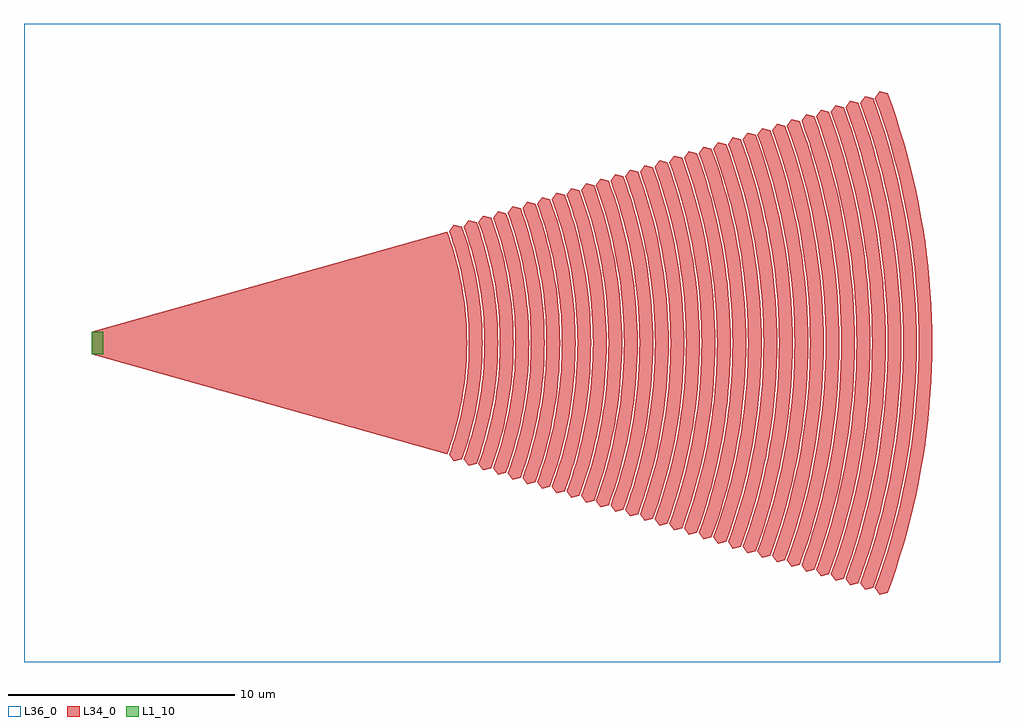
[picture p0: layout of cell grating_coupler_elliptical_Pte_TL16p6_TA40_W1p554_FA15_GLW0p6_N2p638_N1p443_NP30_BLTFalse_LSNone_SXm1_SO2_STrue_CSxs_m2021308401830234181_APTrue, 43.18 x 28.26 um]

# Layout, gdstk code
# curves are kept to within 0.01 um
import gdstk
lib = gdstk.Library(unit=1e-6, precision=1e-09)
def R(c, l, rs):  # rectangles x0, y0, x1, y1
    for r in rs: c.add(gdstk.rectangle(r[:2], r[2:], *l))
def P(c, l, *ps):  # polygons
    for p in ps: c.add(gdstk.Polygon(p, *l))
L1_10 = (1, 10)
L34_0 = (34, 0)
L36_0 = (36, 0)

grating_coupler_elliptic = lib.new_cell('grating_coupler_elliptical_Pte_TL16p6_TA40_W1p554_FA15_GLW0p6_N2p638_N1p443_NP30_BLTFalse_LSNone_SXm1_SO2_STrue_CSxs_m2021308401830234181_APTrue')
R(grating_coupler_elliptic, L1_10, [(0,-0.5,0.5,0.5)])
P(grating_coupler_elliptic, L34_0, [(15.723,-4.924),(0,-0.5),(0,0.5),(15.723,4.924),(15.965,4.21),(16.104,3.726),(16.282,2.994),(16.379,2.5),(16.492,1.755),(16.545,1.255),(16.58,0.754),(16.6,0),(16.58,-0.754),(16.545,-1.255),(16.492,-1.755),(16.379,-2.5),(16.282,-2.994),(16.104,-3.726),(15.965,-4.21)],
  [(16.022,-5.227),(15.806,-4.939),(15.973,-4.459),(16.189,-3.735),(16.313,-3.246),(16.465,-2.505),(16.544,-2.008),(16.63,-1.257),(16.666,-0.755),(16.686,0),(16.666,0.755),(16.63,1.257),(16.544,2.008),(16.465,2.505),(16.313,3.246),(16.189,3.735),(15.973,4.459),(15.806,4.939),(16.022,5.227),(16.372,5.139),(16.623,4.396),(16.897,3.382),(17.055,2.611),(17.173,1.832),(17.266,0.787),(17.286,0),(17.266,-0.787),(17.173,-1.832),(17.055,-2.611),(16.897,-3.382),(16.623,-4.396),(16.372,-5.139)],
  [(16.67,-5.43),(16.456,-5.14),(16.629,-4.644),(16.854,-3.889),(17.041,-3.124),(17.142,-2.61),(17.259,-1.831),(17.314,-1.31),(17.363,-0.524),(17.372,0),(17.363,0.524),(17.314,1.31),(17.259,1.831),(17.142,2.61),(17.041,3.124),(16.854,3.889),(16.629,4.644),(16.456,5.14),(16.67,5.43),(17.02,5.344),(17.36,4.309),(17.567,3.516),(17.732,2.714),(17.855,1.905),(17.951,0.818),(17.972,0),(17.951,-0.818),(17.855,-1.905),(17.732,-2.714),(17.567,-3.516),(17.36,-4.309),(17.02,-5.344)],
  [(17.32,-5.634),(17.106,-5.345),(17.286,-4.827),(17.52,-4.043),(17.714,-3.248),(17.819,-2.713),(17.94,-1.903),(17.998,-1.362),(18.048,-0.545),(18.058,0),(18.048,0.545),(17.998,1.362),(17.94,1.903),(17.819,2.713),(17.714,3.248),(17.52,4.043),(17.286,4.827),(17.106,5.345),(17.32,5.634),(17.67,5.547),(17.942,4.744),(18.1,4.199),(18.238,3.651),(18.409,2.817),(18.536,1.977),(18.596,1.414),(18.636,0.849),(18.658,0),(18.636,-0.849),(18.596,-1.414),(18.536,-1.977),(18.409,-2.817),(18.238,-3.651),(18.1,-4.199),(17.942,-4.744),(17.67,-5.547)],
  [(17.971,-5.837),(17.756,-5.548),(17.942,-5.011),(18.185,-4.197),(18.324,-3.648),(18.496,-2.815),(18.585,-2.257),(18.682,-1.414),(18.734,-0.566),(18.744,0),(18.734,0.566),(18.682,1.414),(18.585,2.257),(18.496,2.815),(18.324,3.648),(18.185,4.197),(17.942,5.011),(17.756,5.548),(17.971,5.837),(18.32,5.75),(18.602,4.918),(18.765,4.353),(18.908,3.784),(19.086,2.921),(19.218,2.05),(19.28,1.466),(19.321,0.88),(19.344,0),(19.321,-0.88),(19.28,-1.466),(19.218,-2.05),(19.086,-2.921),(18.908,-3.784),(18.765,-4.353),(18.602,-4.918),(18.32,-5.75)],
  [(18.621,-6.041),(18.405,-5.753),(18.688,-4.915),(18.852,-4.35),(18.995,-3.782),(19.172,-2.919),(19.265,-2.34),(19.365,-1.464),(19.406,-0.88),(19.43,0),(19.406,0.88),(19.365,1.464),(19.265,2.34),(19.172,2.919),(18.995,3.782),(18.852,4.35),(18.688,4.915),(18.405,5.753),(18.621,6.041),(18.971,5.953),(19.262,5.091),(19.43,4.508),(19.579,3.918),(19.762,3.025),(19.899,2.123),(19.963,1.518),(20.006,0.912),(20.03,0),(20.006,-0.912),(19.963,-1.518),(19.899,-2.123),(19.762,-3.025),(19.579,-3.918),(19.43,-4.508),(19.262,-5.091),(18.971,-5.953)],
  [(19.269,-6.244),(19.055,-5.954),(19.256,-5.379),(19.517,-4.504),(19.666,-3.915),(19.849,-3.022),(19.945,-2.422),(20.049,-1.517),(20.105,-0.607),(20.116,0),(20.105,0.607),(20.049,1.517),(19.985,2.121),(19.849,3.022),(19.666,3.915),(19.517,4.504),(19.256,5.379),(19.055,5.954),(19.269,6.244),(19.619,6.158),(19.826,5.565),(20.011,4.965),(20.25,4.051),(20.439,3.128),(20.581,2.195),(20.647,1.569),(20.691,0.943),(20.716,0),(20.691,-0.943),(20.647,-1.569),(20.581,-2.195),(20.439,-3.128),(20.25,-4.051),(20.011,-4.965),(19.826,-5.565),(19.619,-6.158)],
  [(19.919,-6.448),(19.705,-6.159),(19.912,-5.563),(20.182,-4.659),(20.405,-3.742),(20.526,-3.125),(20.625,-2.505),(20.733,-1.569),(20.791,-0.629),(20.802,0),(20.791,0.629),(20.733,1.569),(20.625,2.505),(20.526,3.125),(20.405,3.742),(20.182,4.659),(19.912,5.563),(19.705,6.159),(19.919,6.448),(20.269,6.361),(20.581,5.44),(20.762,4.815),(20.92,4.185),(21.116,3.231),(21.262,2.268),(21.331,1.621),(21.377,0.974),(21.402,0),(21.377,-0.974),(21.331,-1.621),(21.262,-2.268),(21.116,-3.231),(20.92,-4.185),(20.762,-4.815),(20.581,-5.44),(20.269,-6.361)],
  [(20.57,-6.651),(20.355,-6.362),(20.569,-5.746),(20.848,-4.813),(21.007,-4.183),(21.203,-3.229),(21.348,-2.266),(21.416,-1.62),(21.462,-0.974),(21.488,0),(21.462,0.974),(21.416,1.62),(21.348,2.266),(21.203,3.229),(21.007,4.183),(20.848,4.813),(20.569,5.746),(20.355,6.362),(20.57,6.651),(20.919,6.564),(21.241,5.614),(21.428,4.969),(21.591,4.319),(21.793,3.335),(21.944,2.34),(22.014,1.674),(22.062,1.004),(22.088,0),(22.062,-1.004),(22.014,-1.674),(21.944,-2.34),(21.793,-3.335),(21.591,-4.319),(21.428,-4.969),(21.241,-5.614),(20.919,-6.564)],
  [(21.22,-6.855),(21.004,-6.567),(21.327,-5.61),(21.513,-4.967),(21.751,-3.99),(21.88,-3.332),(21.985,-2.671),(22.1,-1.673),(22.162,-0.669),(22.174,0),(22.162,0.669),(22.1,1.673),(21.985,2.671),(21.88,3.332),(21.751,3.99),(21.513,4.967),(21.327,5.61),(21.004,6.567),(21.22,6.855),(21.57,6.767),(21.901,5.788),(22.093,5.123),(22.261,4.453),(22.47,3.438),(22.625,2.413),(22.698,1.725),(22.747,1.036),(22.774,0),(22.747,-1.036),(22.698,-1.725),(22.625,-2.413),(22.47,-3.438),(22.261,-4.453),(22.093,-5.123),(21.901,-5.788),(21.57,-6.767)],
  [(21.868,-7.058),(21.654,-6.768),(21.882,-6.114),(22.179,-5.121),(22.424,-4.113),(22.557,-3.435),(22.666,-2.754),(22.784,-1.724),(22.848,-0.69),(22.86,0),(22.848,0.69),(22.784,1.724),(22.666,2.754),(22.557,3.435),(22.424,4.113),(22.179,5.121),(21.882,6.114),(21.654,6.768),(21.868,7.058),(22.218,6.972),(22.56,5.962),(22.759,5.277),(22.932,4.587),(23.147,3.541),(23.307,2.485),(23.382,1.778),(23.432,1.067),(23.46,0),(23.432,-1.067),(23.382,-1.778),(23.307,-2.485),(23.147,-3.541),(22.932,-4.587),(22.759,-5.277),(22.56,-5.962),(22.218,-6.972)],
  [(22.518,-7.262),(22.304,-6.973),(22.539,-6.298),(22.844,-5.275),(23.019,-4.585),(23.234,-3.539),(23.346,-2.836),(23.468,-1.777),(23.533,-0.711),(23.546,0),(23.533,0.711),(23.468,1.777),(23.346,2.836),(23.234,3.539),(23.019,4.585),(22.844,5.275),(22.539,6.298),(22.304,6.973),(22.518,7.262),(22.868,7.175),(23.22,6.135),(23.424,5.431),(23.603,4.721),(23.824,3.645),(23.94,2.92),(24.03,2.194),(24.117,1.098),(24.146,0),(24.117,-1.098),(24.03,-2.194),(23.94,-2.92),(23.824,-3.645),(23.603,-4.721),(23.424,-5.431),(23.22,-6.135),(22.868,-7.175)],
  [(23.169,-7.465),(22.953,-7.176),(23.195,-6.481),(23.511,-5.428),(23.769,-4.361),(23.91,-3.642),(24.026,-2.919),(24.151,-1.827),(24.203,-1.098),(24.232,0),(24.203,1.098),(24.151,1.827),(24.026,2.919),(23.91,3.642),(23.769,4.361),(23.511,5.428),(23.195,6.481),(22.953,7.176),(23.169,7.465),(23.519,7.378),(23.765,6.669),(23.987,5.949),(24.185,5.221),(24.355,4.487),(24.563,3.377),(24.712,2.255),(24.803,1.13),(24.832,0),(24.803,-1.13),(24.712,-2.255),(24.563,-3.377),(24.355,-4.487),(24.185,-5.221),(23.987,-5.949),(23.765,-6.669),(23.519,-7.378)],
  [(23.819,-7.669),(23.603,-7.38),(23.966,-6.307),(24.175,-5.583),(24.36,-4.852),(24.587,-3.745),(24.706,-3.002),(24.835,-1.88),(24.905,-0.752),(24.918,0),(24.905,0.752),(24.835,1.88),(24.706,3.002),(24.587,3.745),(24.36,4.852),(24.175,5.583),(23.966,6.307),(23.603,7.38),(23.819,7.669),(24.169,7.582),(24.422,6.853),(24.65,6.112),(24.853,5.364),(25.028,4.611),(25.242,3.47),(25.395,2.318),(25.488,1.161),(25.518,0),(25.488,-1.161),(25.395,-2.318),(25.242,-3.47),(25.028,-4.611),(24.853,-5.364),(24.65,-6.112),(24.422,-6.853),(24.169,-7.582)],
  [(24.467,-7.872),(24.253,-7.582),(24.508,-6.85),(24.841,-5.737),(25.115,-4.608),(25.264,-3.848),(25.386,-3.085),(25.519,-1.932),(25.573,-1.16),(25.604,0),(25.573,1.16),(25.519,1.932),(25.386,3.085),(25.264,3.848),(25.115,4.608),(24.841,5.737),(24.508,6.85),(24.253,7.582),(24.467,7.872),(24.817,7.786),(25.078,7.036),(25.313,6.277),(25.521,5.508),(25.701,4.734),(25.921,3.562),(26.078,2.381),(26.173,1.192),(26.204,0),(26.173,-1.192),(26.078,-2.381),(25.921,-3.562),(25.701,-4.734),(25.521,-5.508),(25.313,-6.277),(25.078,-7.036),(24.817,-7.786)],
  [(25.118,-8.076),(24.903,-7.787),(25.165,-7.033),(25.506,-5.891),(25.701,-5.12),(25.941,-3.952),(26.066,-3.168),(26.202,-1.984),(26.276,-0.795),(26.29,0),(26.276,0.795),(26.202,1.984),(26.066,3.168),(25.941,3.952),(25.701,5.12),(25.506,5.891),(25.165,7.033),(24.903,7.787),(25.118,8.076),(25.467,7.989),(25.735,7.221),(25.976,6.44),(26.189,5.652),(26.374,4.858),(26.599,3.655),(26.76,2.443),(26.858,1.223),(26.89,0),(26.858,-1.223),(26.76,-2.443),(26.599,-3.655),(26.374,-4.858),(26.189,-5.652),(25.976,-6.44),(25.735,-7.221),(25.467,-7.989)],
  [(25.768,-8.279),(25.552,-7.99),(25.821,-7.217),(26.172,-6.045),(26.372,-5.254),(26.618,-4.055),(26.8,-2.846),(26.886,-2.035),(26.943,-1.222),(26.976,0),(26.961,0.815),(26.886,2.035),(26.8,2.846),(26.618,4.055),(26.372,5.254),(26.172,6.045),(25.945,6.828),(25.552,7.99),(25.768,8.279),(26.118,8.192),(26.391,7.405),(26.638,6.604),(26.857,5.796),(27.047,4.982),(27.278,3.748),(27.443,2.505),(27.543,1.254),(27.576,0),(27.543,-1.254),(27.443,-2.505),(27.278,-3.748),(27.047,-4.982),(26.857,-5.796),(26.638,-6.604),(26.391,-7.405),(26.118,-8.192)],
  [(26.418,-8.483),(26.202,-8.194),(26.605,-7.003),(26.837,-6.199),(27.134,-4.979),(27.295,-4.159),(27.427,-3.333),(27.57,-2.088),(27.647,-0.835),(27.662,0),(27.647,0.835),(27.57,2.088),(27.427,3.333),(27.295,4.159),(27.134,4.979),(26.837,6.199),(26.605,7.003),(26.202,8.194),(26.418,8.483),(26.768,8.396),(27.048,7.589),(27.301,6.768),(27.525,5.94),(27.72,5.105),(27.956,3.841),(28.126,2.567),(28.228,1.285),(28.262,0),(28.228,-1.285),(28.126,-2.567),(27.956,-3.841),(27.72,-5.105),(27.525,-5.94),(27.301,-6.768),(27.048,-7.589),(26.768,-8.396)],
  [(27.066,-8.686),(26.852,-8.396),(27.264,-7.176),(27.611,-5.938),(27.893,-4.683),(28.107,-3.416),(28.213,-2.566),(28.288,-1.712),(28.333,-0.857),(28.348,0),(28.333,0.857),(28.288,1.712),(28.213,2.566),(28.107,3.416),(27.893,4.683),(27.611,5.938),(27.264,7.176),(26.852,8.396),(27.066,8.686),(27.416,8.6),(27.705,7.771),(27.964,6.933),(28.193,6.084),(28.393,5.229),(28.635,3.934),(28.809,2.628),(28.914,1.316),(28.948,0),(28.914,-1.316),(28.809,-2.628),(28.635,-3.934),(28.393,-5.229),(28.193,-6.084),(27.964,-6.933),(27.705,-7.771),(27.416,-8.6)],
  [(27.717,-8.89),(27.502,-8.601),(27.924,-7.351),(28.28,-6.082),(28.568,-4.797),(28.787,-3.499),(28.895,-2.627),(28.972,-1.754),(29.018,-0.878),(29.034,0),(29.018,0.878),(28.972,1.754),(28.895,2.627),(28.787,3.499),(28.568,4.797),(28.28,6.082),(27.924,7.351),(27.502,8.601),(27.717,8.89),(28.066,8.803),(28.361,7.956),(28.626,7.096),(28.862,6.228),(29.065,5.353),(29.314,4.027),(29.491,2.691),(29.599,1.348),(29.634,0),(29.599,-1.348),(29.491,-2.691),(29.314,-4.027),(29.065,-5.353),(28.862,-6.228),(28.626,-7.096),(28.361,-7.956),(28.066,-8.803)],
  [(28.367,-9.093),(28.152,-8.804),(28.584,-7.525),(28.948,-6.226),(29.243,-4.91),(29.467,-3.582),(29.578,-2.69),(29.657,-1.795),(29.704,-0.898),(29.72,0),(29.704,0.898),(29.657,1.795),(29.578,2.69),(29.467,3.582),(29.243,4.91),(28.948,6.226),(28.584,7.525),(28.152,8.804),(28.367,9.093),(28.716,9.006),(29.018,8.14),(29.289,7.26),(29.53,6.372),(29.738,5.477),(29.992,4.121),(30.174,2.754),(30.284,1.379),(30.32,0),(30.284,-1.379),(30.174,-2.754),(29.992,-4.121),(29.738,-5.477),(29.53,-6.372),(29.289,-7.26),(29.018,-8.14),(28.716,-9.006)],
  [(29.017,-9.297),(28.801,-9.008),(29.244,-7.698),(29.616,-6.369),(29.918,-5.024),(30.147,-3.665),(30.261,-2.752),(30.341,-1.837),(30.39,-0.918),(30.406,0),(30.39,0.918),(30.341,1.837),(30.261,2.752),(30.147,3.665),(29.918,5.024),(29.616,6.369),(29.244,7.698),(28.801,9.008),(29.017,9.297),(29.367,9.21),(29.674,8.324),(29.952,7.424),(30.198,6.517),(30.411,5.6),(30.671,4.213),(30.857,2.816),(30.969,1.41),(31.006,0),(30.969,-1.41),(30.857,-2.816),(30.671,-4.213),(30.411,-5.6),(30.198,-6.517),(29.952,-7.424),(29.674,-8.324),(29.367,-9.21)],
  [(29.665,-9.5),(29.451,-9.211),(29.903,-7.872),(30.284,-6.514),(30.593,-5.137),(30.827,-3.747),(30.943,-2.814),(31.026,-1.878),(31.075,-0.939),(31.092,0),(31.075,0.939),(31.026,1.878),(30.943,2.814),(30.827,3.747),(30.593,5.137),(30.284,6.514),(29.903,7.872),(29.451,9.211),(29.665,9.5),(30.015,9.413),(30.331,8.507),(30.615,7.589),(30.866,6.66),(31.084,5.724),(31.349,4.306),(31.539,2.878),(31.654,1.441),(31.692,0),(31.654,-1.441),(31.539,-2.878),(31.349,-4.306),(31.084,-5.724),(30.866,-6.66),(30.615,-7.589),(30.331,-8.507),(30.015,-9.413)],
  [(30.316,-9.704),(30.101,-9.415),(30.563,-8.047),(30.952,-6.658),(31.268,-5.251),(31.508,-3.83),(31.626,-2.876),(31.711,-1.92),(31.761,-0.96),(31.778,0),(31.761,0.96),(31.711,1.92),(31.626,2.876),(31.508,3.83),(31.268,5.251),(30.952,6.658),(30.563,8.047),(30.101,9.415),(30.316,9.704),(30.665,9.617),(30.988,8.692),(31.277,7.752),(31.534,6.804),(31.757,5.848),(32.028,4.4),(32.222,2.94),(32.339,1.472),(32.378,0),(32.339,-1.472),(32.222,-2.94),(32.028,-4.4),(31.757,-5.848),(31.534,-6.804),(31.277,-7.752),(30.988,-8.692),(30.665,-9.617)],
  [(30.966,-9.907),(30.751,-9.618),(31.223,-8.22),(31.496,-7.277),(31.844,-5.845),(32.115,-4.399),(32.309,-2.938),(32.395,-1.961),(32.447,-0.981),(32.464,0),(32.447,0.981),(32.395,1.961),(32.309,2.938),(32.115,4.399),(31.844,5.845),(31.496,7.277),(31.223,8.22),(30.751,9.618),(30.966,9.907),(31.315,9.82),(31.644,8.876),(31.94,7.916),(32.202,6.948),(32.43,5.971),(32.707,4.493),(32.905,3.002),(33.025,1.503),(33.064,0),(33.025,-1.503),(32.905,-3.002),(32.707,-4.493),(32.43,-5.971),(32.202,-6.948),(31.94,-7.916),(31.644,-8.876),(31.315,-9.82)],
  [(31.616,-10.111),(31.4,-9.822),(31.882,-8.394),(32.289,-6.946),(32.618,-5.478),(32.793,-4.492),(32.934,-3.499),(33.08,-2.003),(33.132,-1.002),(33.15,0),(33.132,1.002),(33.08,2.003),(32.934,3.499),(32.793,4.492),(32.618,5.478),(32.289,6.946),(31.882,8.394),(31.4,9.822),(31.616,10.111),(31.966,10.024),(32.301,9.059),(32.603,8.08),(32.871,7.092),(33.103,6.095),(33.385,4.586),(33.53,3.573),(33.587,3.064),(33.71,1.534),(33.75,0),(33.71,-1.534),(33.587,-3.064),(33.53,-3.573),(33.385,-4.586),(33.103,-6.095),(32.871,-7.092),(32.603,-8.08),(32.301,-9.059),(31.966,-10.024)],
  [(32.264,-10.314),(32.05,-10.025),(32.542,-8.568),(32.957,-7.09),(33.293,-5.591),(33.472,-4.585),(33.674,-3.063),(33.764,-2.044),(33.818,-1.023),(33.836,0),(33.818,1.023),(33.764,2.044),(33.674,3.063),(33.472,4.585),(33.293,5.591),(32.957,7.09),(32.542,8.568),(32.05,10.025),(32.264,10.314),(32.614,10.227),(32.957,9.242),(33.265,8.245),(33.539,7.236),(33.775,6.219),(34.064,4.679),(34.27,3.127),(34.395,1.566),(34.436,0),(34.395,-1.566),(34.27,-3.127),(34.064,-4.679),(33.775,-6.219),(33.539,-7.236),(33.265,-8.245),(32.957,-9.242),(32.614,-10.227)],
  [(32.915,-10.518),(32.7,-10.229),(33.202,-8.742),(33.625,-7.234),(33.862,-6.217),(34.064,-5.192),(34.15,-4.678),(34.357,-3.125),(34.449,-2.086),(34.503,-1.043),(34.522,0),(34.503,1.043),(34.449,2.086),(34.357,3.125),(34.15,4.678),(34.064,5.192),(33.862,6.217),(33.625,7.234),(33.202,8.742),(32.7,10.229),(32.915,10.518),(33.264,10.431),(33.614,9.427),(33.928,8.408),(34.207,7.38),(34.448,6.343),(34.654,5.298),(34.742,4.772),(34.893,3.718),(34.953,3.189),(35.08,1.597),(35.122,0),(35.08,-1.597),(34.953,-3.189),(34.893,-3.718),(34.742,-4.772),(34.654,-5.298),(34.448,-6.343),(34.207,-7.38),(33.928,-8.408),(33.614,-9.427),(33.264,-10.431)],
  [(33.565,-10.721),(33.35,-10.432),(33.862,-8.915),(34.293,-7.378),(34.535,-6.34),(34.829,-4.771),(34.978,-3.716),(35.091,-2.658),(35.189,-1.064),(35.208,0),(35.189,1.064),(35.091,2.658),(34.978,3.716),(34.829,4.771),(34.535,6.34),(34.293,7.378),(33.862,8.915),(33.35,10.432),(33.565,10.721),(33.914,10.634),(34.27,9.611),(34.591,8.572),(34.875,7.524),(35.121,6.466),(35.421,4.865),(35.636,3.251),(35.765,1.628),(35.808,0),(35.765,-1.628),(35.636,-3.251),(35.421,-4.865),(35.121,-6.466),(34.875,-7.524),(34.591,-8.572),(34.27,-9.611),(33.914,-10.634)],
  [(34.215,-10.925),(33.999,-10.636),(34.357,-9.607),(34.824,-8.047),(35.208,-6.464),(35.508,-4.864),(35.66,-3.789),(35.818,-2.169),(35.875,-1.086),(35.894,0),(35.875,1.086),(35.818,2.169),(35.722,3.25),(35.508,4.864),(35.208,6.464),(34.824,8.047),(34.357,9.607),(33.999,10.636),(34.215,10.925),(34.565,10.838),(34.927,9.795),(35.254,8.737),(35.543,7.668),(35.794,6.59),(36.1,4.958),(36.256,3.863),(36.318,3.312),(36.451,1.659),(36.494,0),(36.451,-1.659),(36.318,-3.312),(36.256,-3.863),(36.1,-4.958),(35.794,-6.59),(35.543,-7.668),(35.254,-8.737),(34.927,-9.795),(34.565,-10.838)],
  [(34.863,-11.128),(34.649,-10.839),(35.014,-9.792),(35.181,-9.264),(35.629,-7.666),(35.881,-6.588),(36.186,-4.956),(36.269,-4.41),(36.405,-3.312),(36.502,-2.21),(36.56,-1.106),(36.58,0),(36.56,1.106),(36.502,2.21),(36.405,3.312),(36.269,4.41),(36.186,4.956),(35.881,6.588),(35.629,7.666),(35.181,9.264),(35.014,9.792),(34.649,10.839),(34.863,11.128),(35.213,11.041),(35.584,9.978),(35.916,8.901),(36.211,7.812),(36.467,6.714),(36.778,5.052),(36.863,4.494),(37.001,3.376),(37.136,1.69),(37.18,0),(37.136,-1.69),(37.001,-3.376),(36.863,-4.494),(36.778,-5.052),(36.467,-6.714),(36.211,-7.812),(35.916,-8.901),(35.584,-9.978),(35.213,-11.041)])
R(grating_coupler_elliptic, L36_0, [(-3,-14.128,40.18,14.128)])

lib.write_gds('grating_coupler_elliptical_Pte_TL16p6_TA40_W1p554_FA15_GLW0p6_N2p638_N1p443_NP30_BLTFalse_LSNone_SXm1_SO2_STrue_CSxs_m2021308401830234181_APTrue.gds')
